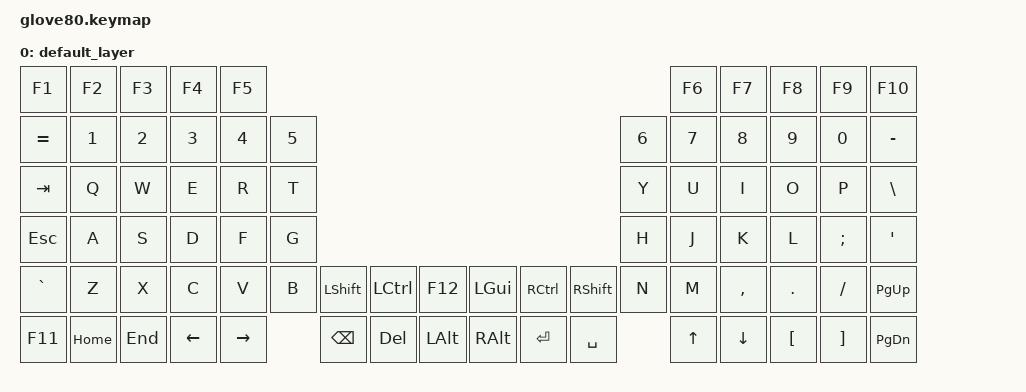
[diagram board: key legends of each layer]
/*
 * Copyright (c) 2020 The ZMK Contributors
 *
 * SPDX-License-Identifier: MIT
 */

#include <behaviors.dtsi>
#include <dt-bindings/zmk/keys.h>
#include <dt-bindings/zmk/bt.h>
#include <dt-bindings/zmk/ext_power.h>
#include <dt-bindings/zmk/outputs.h>
#include <dt-bindings/zmk/rgb.h>

// layers
#define DEFAULT 0

/ {
    behaviors {
    };

    macros {
    };

    keymap {
        compatible = "zmk,keymap";

        default_layer {
            // This is only a visualisation, actual keymap is defined in code below.
            // ---------------------------------------------------------------------------------------------------------------------------------
            // |  F1   |  F2 |  F3 |  F4  |  F5  |                                                               |  F6   |  F7   |  F8  |   F9  |  F10 |
            // |  =    |  1  |  2  |  3   |  4   |  5   |                                                 |  6   |   7   |   8   |  9   |   0   |   -  |
            // |  TAB  |  Q  |  W  |  E   |  R   |  T   |                                                 |  Y   |   U   |   I   |  O   |   P   |   \  |
            // |  ESC  |  A  |  S  |  D   |  F   |  G   |                                                 |  H   |   J   |   K   |  L   |   ;   |   '  |
            // |   `   |  Z  |  X  |  C   |  V   |  B   | LSHFT | LCTRL | F12   | | LGUI  | RCTRL | RSHFT |  N   |   M   |   ,   |  .   |   /   | PGUP |
            // |  F11  | HOME| END | LEFT | RIGHT|      | BSPC  | DEL   | LALT  | | RALT  | RET   | SPACE |      |  UP   | DOWN  |  [   |   ]   | PGDN |

            bindings = <
            &kp F1         &kp F2   &kp F3      &kp F4      &kp F5                                                                                         &kp F6  &kp F7      &kp F8      &kp F9      &kp F10
            &kp EQUAL      &kp N1   &kp N2      &kp N3      &kp N4      &kp N5                                                                     &kp N6  &kp N7  &kp N8      &kp N9      &kp N0      &kp MINUS
            &kp TAB        &kp Q    &kp W       &kp E       &kp R       &kp T                                                                      &kp Y   &kp U   &kp I       &kp O       &kp P       &kp BSLH
            &kp ESC        &kp A    &kp S       &kp D       &kp F       &kp G                                                                      &kp H   &kp J   &kp K       &kp L       &kp SEMI    &kp SQT
            &kp GRAVE      &kp Z    &kp X       &kp C       &kp V       &kp B   &kp LSHFT   &kp LCTRL   &kp F12    &kp LGUI  &kp RCTRL &kp RSHFT   &kp N   &kp M   &kp COMMA   &kp DOT     &kp FSLH    &kp PG_UP
            &kp F11        &kp HOME &kp END     &kp LEFT    &kp RIGHT           &kp BSPC    &kp DEL     &kp LALT   &kp RALT  &kp RET   &kp SPACE           &kp UP  &kp DOWN    &kp LBKT    &kp RBKT    &kp PG_DN
            >;
        };
    };
};
